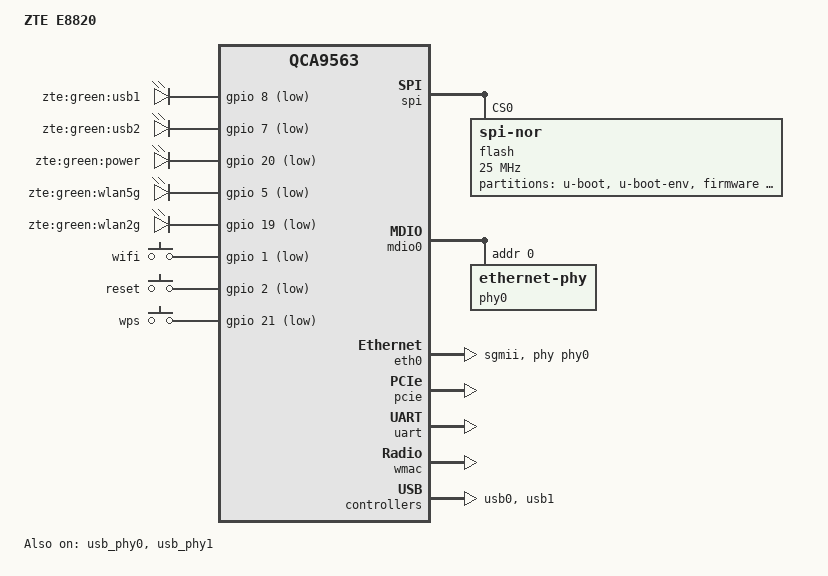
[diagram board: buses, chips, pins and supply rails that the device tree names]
// SPDX-License-Identifier: GPL-2.0-or-later OR MIT
/dts-v1/;

#include <dt-bindings/gpio/gpio.h>
#include <dt-bindings/input/input.h>

#include "qca956x.dtsi"

/ {
	model = "ZTE E8820";
	compatible = "zte,e8820", "qca,qca9563";

	aliases {
		led-boot = &power_green;
		led-failsafe = &power_green;
		led-running = &power_green;
		led-upgrade = &power_green;
	};

	leds {
		compatible = "gpio-leds";
		pinctrl-names = "default";
		pinctrl-0 = <&jtag_disable_pins>;

		usb1 {
			label = "zte:green:usb1";
			gpios = <&gpio 8 GPIO_ACTIVE_LOW>;
			trigger-sources = <&hub_port1>;
			linux,default-trigger = "usbport";
		};

		usb2 {
			label = "zte:green:usb2";
			gpios = <&gpio 7 GPIO_ACTIVE_LOW>;
			trigger-sources = <&hub_port0>;
			linux,default-trigger = "usbport";
		};

		power_green: power_green {
			label = "zte:green:power";
			gpios = <&gpio 20 GPIO_ACTIVE_LOW>;
			default-state = "on";
		};

		wlan5g_green {
			label = "zte:green:wlan5g";
			gpios = <&gpio 5 GPIO_ACTIVE_LOW>;
			linux,default-trigger = "phy0tpt";
		};

		wlan2g_green {
			label = "zte:green:wlan2g";
			gpios = <&gpio 19 GPIO_ACTIVE_LOW>;
			linux,default-trigger = "phy1tpt";
		};
	};

	keys {
		compatible = "gpio-keys";

		wifi {
			label = "wifi";
			gpios = <&gpio 1 GPIO_ACTIVE_LOW>;
			linux,code = <KEY_RFKILL>;
			debounce-interval = <60>;
		};

		reset {
			label = "reset";
			gpios = <&gpio 2 GPIO_ACTIVE_LOW>;
			linux,code = <KEY_RESTART>;
			debounce-interval = <60>;
		};

		wps {
			label = "wps";
			gpios = <&gpio 21 GPIO_ACTIVE_LOW>;
			linux,code = <KEY_WPS_BUTTON>;
			debounce-interval = <60>;
		};
	};
};

&spi {
	status = "okay";
	num-cs = <1>;

	flash@0 {
		compatible = "jedec,spi-nor";
		reg = <0>;
		spi-max-frequency = <25000000>;

		partitions {
			compatible = "fixed-partitions";
			#address-cells = <1>;
			#size-cells = <1>;

			partition@0 {
				label = "u-boot";
				reg = <0x000000 0x040000>;
				read-only;
			};

			partition@40000 {
				label = "u-boot-env";
				reg = <0x040000 0x010000>;
			};

			partition@50000 {
				compatible = "denx,uimage";
				label = "firmware";
				reg = <0x050000 0xfa0000>;
			};

			art: partition@ff0000 {
				label = "art";
				reg = <0xff0000 0x010000>;
				read-only;
			};
		};
	};
};

&mdio0 {
	status = "okay";

	phy0: ethernet-phy@0 {
		reg = <0>;

		qca,ar8327-initvals = <
			0x04 0x00000080 /* PORT0 PAD MODE CTRL */
			0x50 0xcc35cc35 /* LED_CTRL0 */
			0x54 0xca35ca35 /* LED_CTRL1 */
			0x58 0xc935c935 /* LED_CTRL2 */
			0x5c 0x03ffff00 /* LED_CTRL3 */
			0x7c 0x0000007e /* PORT0_STATUS */
		>;
	};
};

&eth0 {
	status = "okay";
	
	pll-data = <0x03000101 0x00000101 0x00001919>;

	mtd-mac-address = <&art 0x0>;
	phy-mode = "sgmii";
	phy-handle = <&phy0>;
};

&pcie {
	status = "okay";
};

&uart {
	status = "okay";
};

&wmac {
	status = "okay";

	mtd-cal-data = <&art 0x1000>;
	mtd-mac-address = <&art 0xc>;
};

&usb_phy0 {
	status = "okay";
};

&usb0 {
	#address-cells = <1>;
	#size-cells = <0>;
	status = "okay";

	hub_port0: port@1 {
		reg = <1>;
		#trigger-source-cells = <0>;
	};
};

&usb_phy1 {
	status = "okay";
};

&usb1 {
	#address-cells = <1>;
	#size-cells = <0>;
	status = "okay";

	hub_port1: port@1 {
		reg = <1>;
		#trigger-source-cells = <0>;
	};
};
